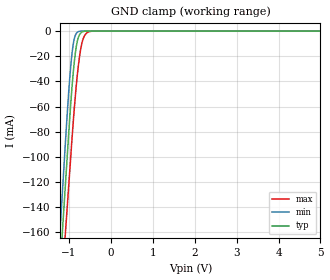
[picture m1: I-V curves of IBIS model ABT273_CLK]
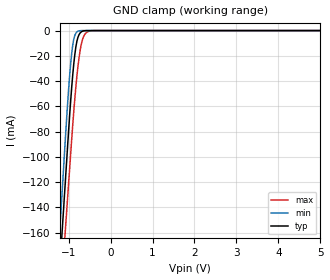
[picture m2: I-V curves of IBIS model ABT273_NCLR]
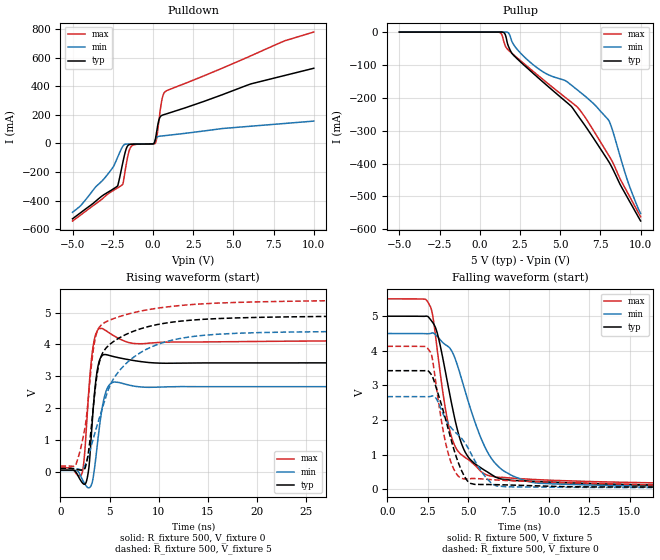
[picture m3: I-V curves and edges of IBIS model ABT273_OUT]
| TEXAS INSTRUMENTS INCORPORATED
| Standard Linear and Logic Group
| IBIS Model of SN74ABT273
| OCTAL EDGE-TRIGGERED D-TYPE FLIP-FLOPS WITH CLEAR
| This file contains package information for the following:
|  SSOP 20-pin (DB) package as [Component] ABT273_DB
|  SOIC 20-pin (DW) package as [Component] ABT273_DW
|  PDIP 20-pin (N) package as [Component] ABT273_N
|  TSSOP 20-pin (PW) package as [Component] ABT273_PW
| This device can be powered at the following Vccs:
|  5 volt Vcc
| This file provides unique models under the [Model Selector] for each Vcc.
| For operation at a specific Vcc, select the appropriate model after each
| [Model Selector] keyword.
[IBIS Ver]   3.2
[Comment char]  |_char
[File Name]   sn74abt273.ibs
[File Rev]   1.2 | j_die
[Date]   October 29, 2003
[Source]   Data created from TI-SPICE simulations at TI-SLL.
[Notes]   The following is an IBIS list for the ABT273.
   Please contact sllibis@ti.com with questions and
   comments concerning SLL IBIS models.
   -This IBIS model is created from a BA (back annotated netlist)
   -Power clamp data deleted as there is no power-clamp diode.
   -C_comp values have been replaced by the data sheet typ values
   except for the output models.
   -We may not have accurate data for the weak case.
[Disclaimer] Property of Texas Instruments Incorporated.  Unauthorized
                reproduction and/or distribution is strictly prohibited.
                This product is protected under copyright law.
                Created  2002, (C) Copyright  2002, Texas Instruments
                Incorporated, All Rights Reserved
                UNLESS THERE IS A SIGNED, WRITTEN AGREEMENT TO THE
                CONTRARY, TEXAS INSTRUMENTS (TI) IS PROVIDING THE IBIS
                MODELS  AND WITHOUT ANY WARRANTY, EXPRESSED OR
                IMPLIED.  TI assumes no liability for:
                 1) the accuracy of the IBIS models provided to your
                    company;
                 2) the proper functioning of these IBIS Models in your
                    design or for any resulting applications; or
                 3) infringement of patents, copyrights or intellectual
                    property rights resulting from your use of these IBIS
                    models.
                TI provides IBIS Models as a service to our customers.
                You and your company shall not distribute, sell or give
                these models to anyone else without prior written
                permission from TI.
                TI reserves the right to make changes to our products or
                to discontinue any semiconductor product or service
                without notice, and advises our customers to obtain the
                latest version of relevant information to verify, before
                placing orders, that the information being relied on is
                current.
                Please be aware that your receipt and use of the IBIS
                information provided shall serve as acceptance of these
                terms and conditions.  If you do not accept these terms,
                you should return or destroy the IBIS models and any
                other accompanying information immediately.
| Component ABT273_DB 20-pin SSOP
[Component]   ABT273_DB
[Manufacturer]   Texas Instruments, Inc.
[Package]
|   typ   min   max
R_pkg   4.000e-02   3.500e-02   5.100e-02
L_pkg   3.495e-09   3.035e-09   4.314e-09
C_pkg   4.200e-13   3.460e-13   5.020e-13
[Pin]   signal_name   model_name   R_pin   L_pin   C_pin
1   NCLR   ABT273_NCLR   4.900e-02   4.310e-09   5.020e-13
2   1Q   ABT273_OUT   4.800e-02   3.903e-09   4.870e-13
3   1D   ABT273_IN   3.500e-02   3.189e-09   3.960e-13
4   2D   ABT273_IN   3.500e-02   3.036e-09   3.470e-13
5   2Q   ABT273_OUT   3.500e-02   3.035e-09   3.670e-13
6   3Q   ABT273_OUT   3.500e-02   3.035e-09   3.670e-13
7   3D   ABT273_IN   3.500e-02   3.036e-09   3.470e-13
8   4D   ABT273_IN   3.500e-02   3.189e-09   3.970e-13
9   4Q   ABT273_OUT   4.700e-02   3.899e-09   4.880e-13
10   GND   GND   5.100e-02   4.314e-09   5.000e-13
11   CLK   ABT273_CLK   5.100e-02   4.314e-09   5.000e-13
12   5Q   ABT273_OUT   4.700e-02   3.899e-09   4.880e-13
13   5D   ABT273_IN   3.500e-02   3.189e-09   3.970e-13
14   6D   ABT273_IN   3.500e-02   3.036e-09   3.460e-13
15   6Q   ABT273_OUT   3.500e-02   3.035e-09   3.670e-13
16   7Q   ABT273_OUT   3.500e-02   3.035e-09   3.670e-13
17   7D   ABT273_IN   3.500e-02   3.036e-09   3.460e-13
18   8D   ABT273_IN   3.500e-02   3.189e-09   3.970e-13
19   8Q   ABT273_OUT   4.700e-02   3.899e-09   4.880e-13
20   VCC   POWER   5.100e-02   4.314e-09   5.020e-13
| Component ABT273_DW 20-pin SOIC
[Component]   ABT273_DW
[Manufacturer]   Texas Instruments, Inc.
[Package]
|   typ   min   max
R_pkg   3.800e-02   3.300e-02   4.500e-02
L_pkg   5.012e-09   4.110e-09   6.349e-09
C_pkg   7.170e-13   5.300e-13   8.680e-13
[Pin]   signal_name   model_name   R_pin   L_pin   C_pin
1   NCLR   ABT273_NCLR   4.200e-02   6.336e-09   8.650e-13
2   1Q   ABT273_OUT   4.300e-02   5.542e-09   8.670e-13
3   1D   ABT273_IN   3.400e-02   4.714e-09   7.320e-13
4   2D   ABT273_IN   3.400e-02   4.377e-09   5.910e-13
5   2Q   ABT273_OUT   3.600e-02   4.130e-09   5.330e-13
6   3Q   ABT273_OUT   3.500e-02   4.111e-09   5.300e-13
7   3D   ABT273_IN   3.400e-02   4.284e-09   5.830e-13
8   4D   ABT273_IN   3.400e-02   4.634e-09   7.260e-13
9   4Q   ABT273_OUT   4.000e-02   5.518e-09   8.650e-13
10   GND   GND   4.300e-02   6.349e-09   8.660e-13
11   CLK   ABT273_CLK   4.100e-02   6.281e-09   8.610e-13
12   5Q   ABT273_OUT   4.500e-02   5.561e-09   8.680e-13
13   5D   ABT273_IN   3.300e-02   4.778e-09   7.420e-13
14   6D   ABT273_IN   3.500e-02   4.414e-09   5.960e-13
15   6Q   ABT273_OUT   3.500e-02   4.110e-09   5.330e-13
16   7Q   ABT273_OUT   3.600e-02   4.130e-09   5.330e-13
17   7D   ABT273_IN   3.400e-02   4.377e-09   5.910e-13
18   8D   ABT273_IN   3.400e-02   4.714e-09   7.310e-13
19   8Q   ABT273_OUT   4.300e-02   5.569e-09   8.680e-13
20   VCC   POWER   4.200e-02   6.308e-09   8.640e-13
| Component ABT273_N 20-pin PDIP
[Component]   ABT273_N
[Manufacturer]   Texas Instruments, Inc.
[Package]
|   typ   min   max
R_pkg   4.300e-02   3.800e-02   5.000e-02
L_pkg   7.384e-09   4.680e-09   1.032e-08
C_pkg   5.100e-13   2.310e-13   8.210e-13
[Pin]   signal_name   model_name   R_pin   L_pin   C_pin
1   NCLR   ABT273_NCLR   4.200e-02   9.427e-09   8.100e-13
2   1Q   ABT273_OUT   4.600e-02   8.544e-09   4.560e-13
3   1D   ABT273_IN   4.800e-02   7.163e-09   4.350e-13
4   2D   ABT273_IN   4.000e-02   4.825e-09   2.610e-13
5   2Q   ABT273_OUT   4.000e-02   5.284e-09   6.480e-13
6   3Q   ABT273_OUT   4.000e-02   4.686e-09   2.320e-13
7   3D   ABT273_IN   4.000e-02   6.359e-09   4.890e-13
8   4D   ABT273_IN   3.800e-02   7.982e-09   4.750e-13
9   4Q   ABT273_OUT   4.300e-02   9.403e-09   4.750e-13
10   GND   GND   5.000e-02   1.032e-08   8.050e-13
11   CLK   ABT273_CLK   5.000e-02   1.028e-08   8.100e-13
12   5Q   ABT273_OUT   4.300e-02   9.383e-09   4.770e-13
13   5D   ABT273_IN   3.800e-02   7.978e-09   4.760e-13
14   6D   ABT273_IN   4.000e-02   6.302e-09   4.920e-13
15   6Q   ABT273_OUT   4.000e-02   4.680e-09   2.310e-13
16   7Q   ABT273_OUT   4.000e-02   5.284e-09   6.480e-13
17   7D   ABT273_IN   4.000e-02   4.822e-09   2.610e-13
18   8D   ABT273_IN   4.700e-02   7.118e-09   4.390e-13
19   8Q   ABT273_OUT   4.600e-02   8.492e-09   4.610e-13
20   VCC   POWER   4.300e-02   9.348e-09   8.210e-13
| Component ABT273_PW 20-pin TSSOP
[Component]   ABT273_PW
[Manufacturer]   Texas Instruments, Inc.
[Package]
|   typ   min   max
R_pkg   5.000e-02   4.200e-02   6.000e-02
L_pkg   2.802e-09   2.248e-09   3.553e-09
C_pkg   3.170e-13   2.020e-13   4.430e-13
[Pin]   signal_name   model_name   R_pin   L_pin   C_pin
1   NCLR   ABT273_NCLR   5.500e-02   3.461e-09   4.400e-13
2   1Q   ABT273_OUT   5.500e-02   3.150e-09   4.010e-13
3   1D   ABT273_IN   4.200e-02   2.619e-09   3.020e-13
4   2D   ABT273_IN   4.500e-02   2.273e-09   2.020e-13
5   2Q   ABT273_OUT   4.500e-02   2.248e-09   2.240e-13
6   3Q   ABT273_OUT   4.500e-02   2.273e-09   2.260e-13
7   3D   ABT273_IN   4.400e-02   2.323e-09   2.050e-13
8   4D   ABT273_IN   4.600e-02   2.704e-09   3.070e-13
9   4Q   ABT273_OUT   6.000e-02   3.265e-09   4.110e-13
10   GND   GND   5.700e-02   3.506e-09   4.360e-13
11   CLK   ABT273_CLK   5.800e-02   3.553e-09   4.370e-13
12   5Q   ABT273_OUT   5.800e-02   3.193e-09   4.050e-13
13   5D   ABT273_IN   4.200e-02   2.704e-09   3.110e-13
14   6D   ABT273_IN   4.600e-02   2.392e-09   2.100e-13
15   6Q   ABT273_OUT   4.700e-02   2.334e-09   2.290e-13
16   7Q   ABT273_OUT   4.700e-02   2.300e-09   2.270e-13
17   7D   ABT273_IN   4.700e-02   2.349e-09   2.070e-13
18   8D   ABT273_IN   4.500e-02   2.677e-09   3.060e-13
19   8Q   ABT273_OUT   6.000e-02   3.235e-09   4.060e-13
20   VCC   POWER   5.600e-02   3.487e-09   4.430e-13
| Models and submodels in the file (4): ABT273_CLK (Input), ABT273_IN (Input), ABT273_NCLR (Input), ABT273_OUT (Output)
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[Model]   ABT273_CLK
Model_type  Input
Vinl=0.8
Vinh=2.0
| variable   typ   min   max
C_comp   7pF   NA   NA
[Temperature Range]   40   -40   100
| Ambient temperature   25   -40   85
[Voltage range]   5   4.5   5.5
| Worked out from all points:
|   GND clamp passes 1 mA (typ) near -0.70 V on its own axis
[GND Clamp]
| ABT273_CLK
|   Voltage   I(typ)   I(min)   I(max)
-5V       -2.153A    -2.252A    -2.029A
-1.27V    -219.8mA   -192.6mA   -250.3mA
-1.165V   -165.3mA   -134.6mA   -200.3mA
-1.075V   -118.7mA   -84.94mA   -157.4mA
-1V       -79.84mA   -47.06mA   -121.6mA
-925mV    -44.85mA   -17.94mA   -85.91mA
-850mV    -18.77mA   -3.745mA   -53.68mA
-775mV    -5.229mA   -456uA     -28.13mA
-725mV    -1.881mA   -65.53uA   -15.89mA
-650mV    -301.3uA   -1.883uA   -5.398mA
-475mV    -495.5nA   -657.9pA   -218.9uA
5V        60.29pA    64.86pA    153.2pA
[Model]   ABT273_NCLR
Model_type  Input
Vinl=0.8
Vinh=2.0
| variable   typ   min   max
C_comp   7pF   NA   NA
[Temperature Range]   40   -40   100
| Ambient temperature   25   -40   85
[Voltage range]   5   4.5   5.5
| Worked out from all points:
|   GND clamp passes 1 mA (typ) near -0.69 V on its own axis
[GND Clamp]
| ABT273_NCLR
|   Voltage   I(typ)   I(min)   I(max)
-5V       -2.154A    -2.253A    -2.03A
-1.275V   -222.5mA   -195.5mA   -252.9mA
-1.17V    -168mA     -137.5mA   -202.8mA
-1.075V   -118.8mA   -85mA      -157.5mA
-1V       -79.92mA   -47.11mA   -121.7mA
-925mV    -44.92mA   -17.98mA   -86mA
-850mV    -18.82mA   -3.769mA   -53.76mA
-775mV    -5.267mA   -468.9uA   -28.19mA
-725mV    -1.911mA   -71.29uA   -15.94mA
-650mV    -319.5uA   -2.351uA   -5.436mA
-475mV    -1.1uA     -759.2pA   -229.6uA
5V        213.6pA    214.9pA    332.4pA
[Model]   ABT273_OUT
Model_type  Output
Vref =   0
Rref =   500
Cref =   50p
Vmeas =   1.5
| variable   typ   min   max
C_comp   11.61pF   1.41pF   52.34pF
| C_pullup   7.09pF   1.55pF   9.81pF
| C_pulldown   16.13pF   1.41pF   52.34pF
[Temperature Range]   40   -40   100
| Ambient temperature   25   -40   85
[Voltage range]   5   4.5   5.5
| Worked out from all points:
|   slope of the pulldown table from 0 to 0.75 V, typ, clamps not added: 3.63 ohm
|   rising waveform, R_fixture 500, V_fixture 0: 20-80 % time 508ps typ, 684ps min, 544ps max; typ from 0.056 V to 3.42 V
|   falling waveform, R_fixture 500, V_fixture 5: 20-80 % time 1.48ns typ, 2.01ns min, 1.21ns max; typ from 5 V to 0.107 V
|   rising waveform, R_fixture 500, V_fixture 5: 20-80 % time 1.87ns typ, 4.06ns min, 1.32ns max; typ from 0.106 V to 4.93 V
|   falling waveform, R_fixture 500, V_fixture 0: 20-80 % time 1.28ns typ, 2.27ns min, 910ps max; typ from 3.43 V to 0.058 V
[Pulldown]
| ABT273_OUT
|   Voltage   I(typ)   I(min)   I(max)
-5V       -527.2mA   -481.9mA   -542.6mA
-2.91V    -348.7mA   -229.4mA   -363.6mA
-2.195V   -296.8mA   -96.54mA   -310.7mA
-1.875V   -135.1mA   -19.79mA   -285.6mA
-1.8V     -96.32mA   -9.545mA   -241.8mA
-1.54V    -12.91mA   -3.633mA   -77.55mA
-1.345V   -5.687mA   -3.229mA   -20.09mA
145mV     26.66mA    22.15mA    2.066mA
425mV     181.3mA    51.07mA    208.9mA
580mV     197.8mA    53mA       317.6mA
750mV     204.2mA    55.05mA    362mA
10V       526.6mA    156.7mA    780.2mA
[Pullup]
| ABT273_OUT
|   Voltage   I(typ)   I(min)   I(max)
-5V       1.608uA    1.522nA    35.81uA
1.18V     -6.091uA   -574.2pA   -500.3uA
1.36V     -167.9uA   -104.2nA   -7.156mA
1.545V    -4.41mA    -9.98uA    -36.58mA
1.76V     -40.59mA   -1.68mA    -53.86mA
2.22V     -76.56mA   -46.35mA   -74.12mA
3.23V     -121.8mA   -95.93mA   -116mA
5.65V     -224.2mA   -159.8mA   -211.8mA
6.09V     -253.6mA   -177mA     -229.6mA
7.99V     -392.1mA   -267mA     -373.3mA
9.255V    -510.2mA   -461.8mA   -495mA
10V       -575mA     -552.2mA   -562.2mA
[Ramp]
| ABT273_OUT
| variable   typ   min   max
dV/dt_r   2.44/6.42E-10   1.99/8.60E-10   2.78/6.62E-10
dV/dt_f   2.94/1.49E-09   2.65/2.04E-09   3.20/1.24E-09
R_load = 500
[Rising Waveform]
| ABT273_OUT
R_fixture =   500
C_fixture =   0
L_fixture =   0
V_fixture =   0
V_fixture_min = 0
V_fixture_max = 0
|   Time   V(typ)   V(min)   V(max)
0s        56.14mV    43.81mV    126mV
2.115ns   -296mV     -165.6mV   -103.6mV
2.625ns   -318.6mV   -444.1mV   1.286V
2.915ns   180.5mV    -501.2mV   2.661V
3.25ns    1.608V     -315.4mV   3.771V
3.6ns     2.854V     431.3mV    4.325V
3.97ns    3.493V     1.405V     4.503V
4.625ns   3.684V     2.51V      4.438V
5.49ns    3.615V     2.822V     4.265V
50ns      3.425V     2.677V     4.126V
[Falling Waveform]
| ABT273_OUT
R_fixture =   500
C_fixture =   0
L_fixture =   0
V_fixture =   5
V_fixture_min = 4.5
V_fixture_max = 5.5
|   Time   V(typ)   V(min)   V(max)
0s        5V         4.5V       5.5V
2.525ns   4.984V     4.494V     5.394V
2.79ns    4.829V     4.519V     5.061V
3.105ns   4.486V     4.409V     3.973V
3.61ns    3.36V      4.173V     2.287V
4.045ns   2.324V     3.941V     1.41V
4.845ns   1.054V     2.79V      911.5mV
6.32ns    465.4mV    979.9mV    393.2mV
10.25ns   207.1mV    158.6mV    262.2mV
50ns      107mV      97.24mV    181.4mV
[Rising Waveform]
| ABT273_OUT
R_fixture =   500
C_fixture =   0
L_fixture =   0
V_fixture =   5
V_fixture_min = 4.5
V_fixture_max = 5.5
|   Time   V(typ)   V(min)   V(max)
0s        106.1mV    96.66mV    181.1mV
1.525ns   91.83mV    97.62mV    198.8mV
2.5ns     110.8mV    206.6mV    1.39V
2.925ns   787.8mV    591mV      2.593V
3.645ns   2.865V     1.365V     4.315V
4.28ns    3.723V     2.009V     4.645V
5.835ns   4.178V     3.11V      4.858V
9.215ns   4.582V     3.917V     5.109V
14.44ns   4.789V     4.284V     5.276V
50ns      4.931V     4.441V     5.433V
[Falling Waveform]
| ABT273_OUT
R_fixture =   500
C_fixture =   0
L_fixture =   0
V_fixture =   0
V_fixture_min = 0
V_fixture_max = 0
|   Time   V(typ)   V(min)   V(max)
0s        3.427V     2.678V     4.129V
2.665ns   3.351V     2.683V     3.968V
3.05ns    2.897V     2.606V     2.913V
3.73ns    1.809V     1.925V     1.105V
4.21ns    1.02V      1.649V     500mV
4.72ns    423mV      1.397V     304.3mV
5.16ns    172.7mV    1.051V     311.6mV
6.245ns   141.2mV    271.2mV    288.2mV
7.335ns   130mV      75.27mV    257.9mV
50ns      57.86mV    45.2mV     126.9mV
